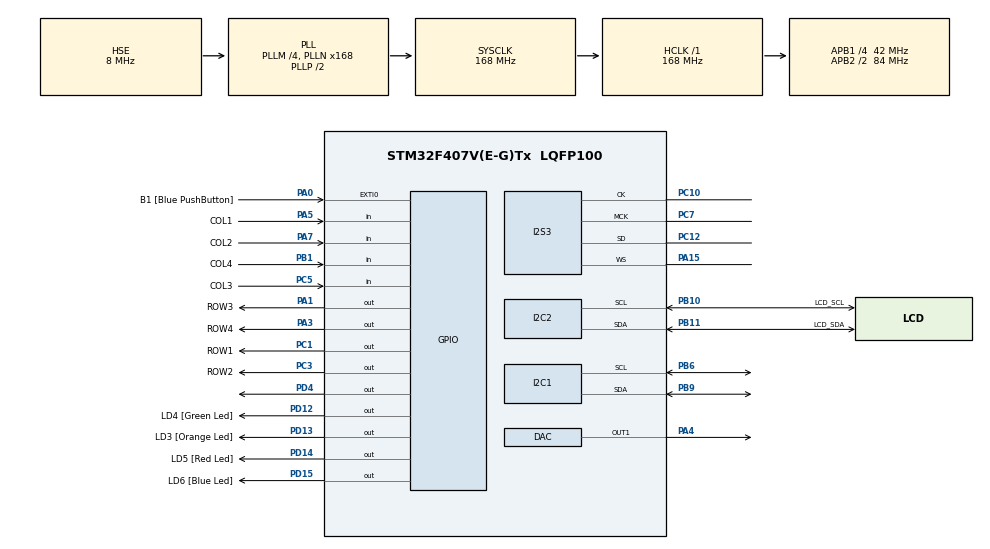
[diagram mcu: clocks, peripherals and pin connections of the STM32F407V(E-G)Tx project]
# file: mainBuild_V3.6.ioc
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Dma.Request0=SPI3_TX
Dma.SPI3_TX.0.Direction=DMA_MEMORY_TO_PERIPH
Dma.SPI3_TX.0.FIFOMode=DMA_FIFOMODE_ENABLE
Dma.SPI3_TX.0.FIFOThreshold=DMA_FIFO_THRESHOLD_FULL
Dma.SPI3_TX.0.Instance=DMA1_Stream5
Dma.SPI3_TX.0.MemBurst=DMA_MBURST_SINGLE
Dma.SPI3_TX.0.MemDataAlignment=DMA_MDATAALIGN_HALFWORD
Dma.SPI3_TX.0.MemInc=DMA_MINC_ENABLE
Dma.SPI3_TX.0.Mode=DMA_CIRCULAR
Dma.SPI3_TX.0.PeriphBurst=DMA_PBURST_SINGLE
Dma.SPI3_TX.0.PeriphDataAlignment=DMA_PDATAALIGN_HALFWORD
Dma.SPI3_TX.0.PeriphInc=DMA_PINC_DISABLE
Dma.SPI3_TX.0.Priority=DMA_PRIORITY_LOW
I2S3.AudioFreq=I2S_AUDIOFREQ_48K
I2S3.ErrorAudioFreq=1.72 %
I2S3.FullDuplexMode=I2S_FULLDUPLEXMODE_DISABLE
I2S3.Instance=SPI$Index
I2S3.RealAudioFreq=48.828 KHz
I2S3.VirtualMode=I2S_MODE_MASTER
Mcu.Family=STM32F4
Mcu.Name=STM32F407V(E-G)Tx
Mcu.Package=LQFP100
NVIC.DMA1_Stream5_IRQn=true\:0\:0\:false\:false\:true\:false\:true
NVIC.PriorityGroup=NVIC_PRIORITYGROUP_0
NVIC.TIM3_IRQn=true\:0\:0\:false\:false\:true\:true\:true
PA0-WKUP.GPIO_Label=B1 [Blue PushButton]
PA0-WKUP.GPIO_PuPd=GPIO_NOPULL
PA0-WKUP.Signal=GPXTI0
PA1.GPIO_Label=ROW3
PA1.GPIO_PuPd=GPIO_PULLUP
PA1.PinState=GPIO_PIN_SET
PA1.Signal=GPIO_Output
PA13.GPIO_Label=SWDIO
PA13.Mode=Serial_Wire
PA13.Signal=SYS_JTMS-SWDIO
PA14.GPIO_Label=SWCLK
PA14.Mode=Serial_Wire
PA14.Signal=SYS_JTCK-SWCLK
PA15.Mode=Half_Duplex_Master
PA15.Signal=I2S3_WS
PA3.GPIO_Label=ROW4
PA3.GPIO_PuPd=GPIO_PULLUP
PA3.PinState=GPIO_PIN_SET
PA3.Signal=GPIO_Output
PA4.Signal=COMP_DAC1_group
PA5.GPIO_Label=COL1
PA5.GPIO_PuPd=GPIO_PULLUP
PA5.Signal=GPIO_Input
PA7.GPIO_Label=COL2
PA7.GPIO_PuPd=GPIO_PULLUP
PA7.Signal=GPIO_Input
PB1.GPIO_Label=COL4
PB1.GPIO_PuPd=GPIO_PULLUP
PB1.Signal=GPIO_Input
PB10.GPIO_Label=LCD_SCL
PB10.Mode=I2C
PB10.Signal=I2C2_SCL
PB11.GPIO_Label=LCD_SDA
PB11.Mode=I2C
PB11.Signal=I2C2_SDA
PB6.Mode=I2C
PB6.Signal=I2C1_SCL
PB9.Mode=I2C
PB9.Signal=I2C1_SDA
PC1.GPIO_Label=ROW1
PC1.GPIO_PuPd=GPIO_PULLUP
PC1.PinState=GPIO_PIN_SET
PC1.Signal=GPIO_Output
PC10.Mode=Half_Duplex_Master
PC10.Signal=I2S3_CK
PC12.Mode=Half_Duplex_Master
PC12.Signal=I2S3_SD
PC14-OSC32_IN.GPIO_Label=PC14-OSC32_IN
PC14-OSC32_IN.Mode=LSE-External-Oscillator
PC14-OSC32_IN.Signal=RCC_OSC32_IN
PC15-OSC32_OUT.GPIO_Label=PC15-OSC32_OUT
PC15-OSC32_OUT.Mode=LSE-External-Oscillator
PC15-OSC32_OUT.Signal=RCC_OSC32_OUT
PC3.GPIO_Label=ROW2
PC3.GPIO_PuPd=GPIO_PULLUP
PC3.PinState=GPIO_PIN_SET
PC3.Signal=GPIO_Output
PC5.GPIO_Label=COL3
PC5.GPIO_PuPd=GPIO_PULLUP
PC5.Signal=GPIO_Input
PC7.Mode=Master_Clock_Activated
PC7.Signal=I2S3_MCK
PD12.GPIO_Label=LD4 [Green Led]
PD12.GPIO_PuPd=GPIO_NOPULL
PD12.GPIO_Speed=GPIO_SPEED_FREQ_LOW
PD12.Signal=GPIO_Output
PD13.GPIO_Label=LD3 [Orange Led]
PD13.GPIO_PuPd=GPIO_NOPULL
PD13.GPIO_Speed=GPIO_SPEED_FREQ_LOW
PD13.Signal=GPIO_Output
PD14.GPIO_Label=LD5 [Red Led]
PD14.GPIO_PuPd=GPIO_NOPULL
PD14.GPIO_Speed=GPIO_SPEED_FREQ_LOW
PD14.Signal=GPIO_Output
PD15.GPIO_Label=LD6 [Blue Led]
PD15.GPIO_PuPd=GPIO_NOPULL
PD15.GPIO_Speed=GPIO_SPEED_FREQ_LOW
PD15.Signal=GPIO_Output
PD4.Signal=GPIO_Output
PH0-OSC_IN.GPIO_Label=PH0-OSC_IN
PH0-OSC_IN.Mode=HSE-External-Oscillator
PH0-OSC_IN.Signal=RCC_OSC_IN
PH1-OSC_OUT.GPIO_Label=PH1-OSC_OUT
PH1-OSC_OUT.Mode=HSE-External-Oscillator
PH1-OSC_OUT.Signal=RCC_OSC_OUT
ProjectManager.HeapSize=0x200
ProjectManager.StackSize=0x400
ProjectManager.TargetToolchain=STM32CubeIDE
RCC.48MHZClocksFreq_Value=48000000
RCC.AHBFreq_Value=168000000
RCC.APB1CLKDivider=RCC_HCLK_DIV4
RCC.APB1Freq_Value=42000000
RCC.APB1TimFreq_Value=84000000
RCC.APB2CLKDivider=RCC_HCLK_DIV2
RCC.APB2Freq_Value=84000000
RCC.APB2TimFreq_Value=168000000
RCC.CortexFreq_Value=168000000
RCC.HCLKFreq_Value=168000000
RCC.HSE_VALUE=8000000
RCC.HSI_VALUE=16000000
RCC.PLLI2SN=50
RCC.PLLM=4
RCC.PLLN=168
RCC.PLLQ=7
RCC.PLLSourceVirtual=RCC_PLLSOURCE_HSE
RCC.SYSCLKFreq_VALUE=168000000
RCC.SYSCLKSource=RCC_SYSCLKSOURCE_PLLCLK
RCC.VCOOutputFreq_Value=336000000
SH.COMP_DAC1_group.0=DAC_OUT1,DAC_OUT1
TIM3.Period=20-1
TIM3.Prescaler=84-1
TIM3.TIM_MasterOutputTrigger=TIM_TRGO_UPDATE
VP_TIM3_VS_ClockSourceINT.Mode=Internal
board=STM32F407G-DISC1

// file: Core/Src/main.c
/* USER CODE BEGIN Header */
/**
  ******************************************************************************
  * @file           : main.c
  * @brief          : Main program body
  ******************************************************************************
  * @attention
  *
  * Copyright (c) 2022 STMicroelectronics.
  * All rights reserved.
  *
  * This software is licensed under terms that can be found in the LICENSE file
  * in the root directory of this software component.
  * If no LICENSE file comes with this software, it is provided AS-IS.
  *
  ******************************************************************************
  */
/* USER CODE END Header */
#include "main.h"

/* USER CODE BEGIN Includes */
#include "lcd_development.h"
#include "stdbool.h"
#include "string.h"
#include "MY_CS43L22.h"
#include <math.h>

/* USER CODE END Includes */

/* USER CODE BEGIN PD */
#define DESFASE_ASCI 48

/* USER CODE END PD */

DAC_HandleTypeDef hdac;

I2C_HandleTypeDef hi2c1;
I2C_HandleTypeDef hi2c2;

I2S_HandleTypeDef hi2s3;
DMA_HandleTypeDef hdma_spi3_tx;

TIM_HandleTypeDef htim3;

/* USER CODE BEGIN PV */
#define PI 3.14159264f
#define F_SAMPLE 50000.0f
#define F_OUT 440.0f
/* USER CODE END PV */

void SystemClock_Config(void);
static void MX_GPIO_Init(void);
static void MX_I2C2_Init(void);
static void MX_DMA_Init(void);
static void MX_I2C1_Init(void);
static void MX_I2S3_Init(void);
static void MX_DAC_Init(void);
static void MX_TIM3_Init(void);

/* USER CODE BEGIN 0 */
float mySinVal;
double sample_dt;
uint16_t sample_N;
uint16_t i_t;
uint32_t myDACVal;
int16_t dataI2S[4];
/* USER CODE END 0 */

int main(void)
{
  /* USER CODE BEGIN 1 */
	sample_dt = (double) F_OUT/F_SAMPLE;
	sample_N = F_SAMPLE/F_OUT;
  /* USER CODE END 1 */

  /* MCU Configuration--------------------------------------------------------*/

  /* Reset of all peripherals, Initializes the Flash interface and the Systick. */
  HAL_Init();

  /* USER CODE BEGIN Init */
  lcd_init();
  initKeyPad();
  /* USER CODE END Init */

  /* Configure the system clock */
  SystemClock_Config();

  /* Initialize all configured peripherals */
  MX_GPIO_Init();
  MX_I2C2_Init();
  MX_DMA_Init();
  MX_I2C1_Init();
  MX_I2S3_Init();
  MX_DAC_Init();
  MX_TIM3_Init();
  /* USER CODE BEGIN 2 */

  CS43_Init(hi2c1,MODE_ANALOG_CS43);
  CS43_SetVolume(50);
  CS43_Enable_RightLeft(CS43_RIGHT_LEFT);
  CS43_Start();

  HAL_I2S_Transmit_DMA(&hi2s3,(uint16_t *) dataI2S,4);
  // Iniciamos el DAC

  HAL_DAC_Start(&hdac,DAC_CHANNEL_1);

  // Iniciamos el timer

  HAL_TIM_Base_Start_IT(&htim3);

  //double * buffer_Out =  getSinSignal(8000, 200, 1);

  /* USER CODE END 2 */

  /* Infinite loop */
  while (1)
  {

    /* USER CODE BEGIN 3 */
	char mensaje[15] = "FUNCIONA LCD";

	lcd_send_string (mensaje,true);
	HAL_Delay(1000);
	char a = readKeyPad();
	if (a!=111){
		char mensaje[27] = "Ha selecionado la tecla: ";
		strncat(mensaje, &a, 1);
		lcd_send_string (mensaje,true);
	}
  }
  /* USER CODE END 3 */
}

void SystemClock_Config(void)
{
  RCC_OscInitTypeDef RCC_OscInitStruct = {0};
  RCC_ClkInitTypeDef RCC_ClkInitStruct = {0};

  /** Configure the main internal regulator output voltage
  */
  __HAL_RCC_PWR_CLK_ENABLE();
  __HAL_PWR_VOLTAGESCALING_CONFIG(PWR_REGULATOR_VOLTAGE_SCALE1);
  /** Initializes the RCC Oscillators according to the specified parameters
  * in the RCC_OscInitTypeDef structure.
  */
  RCC_OscInitStruct.OscillatorType = RCC_OSCILLATORTYPE_HSE;
  RCC_OscInitStruct.HSEState = RCC_HSE_ON;
  RCC_OscInitStruct.PLL.PLLState = RCC_PLL_ON;
  RCC_OscInitStruct.PLL.PLLSource = RCC_PLLSOURCE_HSE;
  RCC_OscInitStruct.PLL.PLLM = 4;
  RCC_OscInitStruct.PLL.PLLN = 168;
  RCC_OscInitStruct.PLL.PLLP = RCC_PLLP_DIV2;
  RCC_OscInitStruct.PLL.PLLQ = 7;
  if (HAL_RCC_OscConfig(&RCC_OscInitStruct) != HAL_OK)
  {
    Error_Handler();
  }
  /** Initializes the CPU, AHB and APB buses clocks
  */
  RCC_ClkInitStruct.ClockType = RCC_CLOCKTYPE_HCLK|RCC_CLOCKTYPE_SYSCLK
                              |RCC_CLOCKTYPE_PCLK1|RCC_CLOCKTYPE_PCLK2;
  RCC_ClkInitStruct.SYSCLKSource = RCC_SYSCLKSOURCE_PLLCLK;
  RCC_ClkInitStruct.AHBCLKDivider = RCC_SYSCLK_DIV1;
  RCC_ClkInitStruct.APB1CLKDivider = RCC_HCLK_DIV4;
  RCC_ClkInitStruct.APB2CLKDivider = RCC_HCLK_DIV2;

  if (HAL_RCC_ClockConfig(&RCC_ClkInitStruct, FLASH_LATENCY_5) != HAL_OK)
  {
    Error_Handler();
  }
}

static void MX_DAC_Init(void)
{

  DAC_ChannelConfTypeDef sConfig = {0};

  /** DAC Initialization
  */
  hdac.Instance = DAC;
  if (HAL_DAC_Init(&hdac) != HAL_OK)
  {
    Error_Handler();
  }
  /** DAC channel OUT1 config
  */
  sConfig.DAC_Trigger = DAC_TRIGGER_NONE;
  sConfig.DAC_OutputBuffer = DAC_OUTPUTBUFFER_ENABLE;
  if (HAL_DAC_ConfigChannel(&hdac, &sConfig, DAC_CHANNEL_1) != HAL_OK)
  {
    Error_Handler();
  }

}

static void MX_I2C1_Init(void)
{

  hi2c1.Instance = I2C1;
  hi2c1.Init.ClockSpeed = 100000;
  hi2c1.Init.DutyCycle = I2C_DUTYCYCLE_2;
  hi2c1.Init.OwnAddress1 = 0;
  hi2c1.Init.AddressingMode = I2C_ADDRESSINGMODE_7BIT;
  hi2c1.Init.DualAddressMode = I2C_DUALADDRESS_DISABLE;
  hi2c1.Init.OwnAddress2 = 0;
  hi2c1.Init.GeneralCallMode = I2C_GENERALCALL_DISABLE;
  hi2c1.Init.NoStretchMode = I2C_NOSTRETCH_DISABLE;
  if (HAL_I2C_Init(&hi2c1) != HAL_OK)
  {
    Error_Handler();
  }

}

static void MX_I2C2_Init(void)
{

  hi2c2.Instance = I2C2;
  hi2c2.Init.ClockSpeed = 100000;
  hi2c2.Init.DutyCycle = I2C_DUTYCYCLE_2;
  hi2c2.Init.OwnAddress1 = 0;
  hi2c2.Init.AddressingMode = I2C_ADDRESSINGMODE_7BIT;
  hi2c2.Init.DualAddressMode = I2C_DUALADDRESS_DISABLE;
  hi2c2.Init.OwnAddress2 = 0;
  hi2c2.Init.GeneralCallMode = I2C_GENERALCALL_DISABLE;
  hi2c2.Init.NoStretchMode = I2C_NOSTRETCH_DISABLE;
  if (HAL_I2C_Init(&hi2c2) != HAL_OK)
  {
    Error_Handler();
  }

}

static void MX_I2S3_Init(void)
{

  hi2s3.Instance = SPI3;
  hi2s3.Init.Mode = I2S_MODE_MASTER_TX;
  hi2s3.Init.Standard = I2S_STANDARD_PHILIPS;
  hi2s3.Init.DataFormat = I2S_DATAFORMAT_16B;
  hi2s3.Init.MCLKOutput = I2S_MCLKOUTPUT_ENABLE;
  hi2s3.Init.AudioFreq = I2S_AUDIOFREQ_48K;
  hi2s3.Init.CPOL = I2S_CPOL_LOW;
  hi2s3.Init.ClockSource = I2S_CLOCK_PLL;
  hi2s3.Init.FullDuplexMode = I2S_FULLDUPLEXMODE_DISABLE;
  if (HAL_I2S_Init(&hi2s3) != HAL_OK)
  {
    Error_Handler();
  }

}

static void MX_TIM3_Init(void)
{

  TIM_ClockConfigTypeDef sClockSourceConfig = {0};
  TIM_MasterConfigTypeDef sMasterConfig = {0};

  htim3.Instance = TIM3;
  htim3.Init.Prescaler = 84-1;
  htim3.Init.CounterMode = TIM_COUNTERMODE_UP;
  htim3.Init.Period = 20-1;
  htim3.Init.ClockDivision = TIM_CLOCKDIVISION_DIV1;
  htim3.Init.AutoReloadPreload = TIM_AUTORELOAD_PRELOAD_DISABLE;
  if (HAL_TIM_Base_Init(&htim3) != HAL_OK)
  {
    Error_Handler();
  }
  sClockSourceConfig.ClockSource = TIM_CLOCKSOURCE_INTERNAL;
  if (HAL_TIM_ConfigClockSource(&htim3, &sClockSourceConfig) != HAL_OK)
  {
    Error_Handler();
  }
  sMasterConfig.MasterOutputTrigger = TIM_TRGO_UPDATE;
  sMasterConfig.MasterSlaveMode = TIM_MASTERSLAVEMODE_DISABLE;
  if (HAL_TIMEx_MasterConfigSynchronization(&htim3, &sMasterConfig) != HAL_OK)
  {
    Error_Handler();
  }

}

static void MX_DMA_Init(void)
{

  /* DMA controller clock enable */
  __HAL_RCC_DMA1_CLK_ENABLE();

  /* DMA interrupt init */
  /* DMA1_Stream5_IRQn interrupt configuration */
  HAL_NVIC_SetPriority(DMA1_Stream5_IRQn, 0, 0);
  HAL_NVIC_EnableIRQ(DMA1_Stream5_IRQn);

}

static void MX_GPIO_Init(void)
{
  GPIO_InitTypeDef GPIO_InitStruct = {0};

  /* GPIO Ports Clock Enable */
  __HAL_RCC_GPIOC_CLK_ENABLE();
  __HAL_RCC_GPIOH_CLK_ENABLE();
  __HAL_RCC_GPIOA_CLK_ENABLE();
  __HAL_RCC_GPIOB_CLK_ENABLE();
  __HAL_RCC_GPIOD_CLK_ENABLE();

  /*Configure GPIO pin Output Level */
  HAL_GPIO_WritePin(GPIOC, ROW1_Pin|ROW2_Pin, GPIO_PIN_SET);

  /*Configure GPIO pin Output Level */
  HAL_GPIO_WritePin(GPIOA, ROW3_Pin|ROW4_Pin, GPIO_PIN_SET);

  /*Configure GPIO pin Output Level */
  HAL_GPIO_WritePin(GPIOD, LD4_Pin|LD3_Pin|LD5_Pin|LD6_Pin
                          |GPIO_PIN_4, GPIO_PIN_RESET);

  /*Configure GPIO pins : ROW1_Pin ROW2_Pin */
  GPIO_InitStruct.Pin = ROW1_Pin|ROW2_Pin;
  GPIO_InitStruct.Mode = GPIO_MODE_OUTPUT_PP;
  GPIO_InitStruct.Pull = GPIO_PULLUP;
  GPIO_InitStruct.Speed = GPIO_SPEED_FREQ_LOW;
  HAL_GPIO_Init(GPIOC, &GPIO_InitStruct);

  /*Configure GPIO pin : B1_Pin */
  GPIO_InitStruct.Pin = B1_Pin;
  GPIO_InitStruct.Mode = GPIO_MODE_IT_RISING;
  GPIO_InitStruct.Pull = GPIO_NOPULL;
  HAL_GPIO_Init(B1_GPIO_Port, &GPIO_InitStruct);

  /*Configure GPIO pins : ROW3_Pin ROW4_Pin */
  GPIO_InitStruct.Pin = ROW3_Pin|ROW4_Pin;
  GPIO_InitStruct.Mode = GPIO_MODE_OUTPUT_PP;
  GPIO_InitStruct.Pull = GPIO_PULLUP;
  GPIO_InitStruct.Speed = GPIO_SPEED_FREQ_LOW;
  HAL_GPIO_Init(GPIOA, &GPIO_InitStruct);

  /*Configure GPIO pins : COL1_Pin COL2_Pin */
  GPIO_InitStruct.Pin = COL1_Pin|COL2_Pin;
  GPIO_InitStruct.Mode = GPIO_MODE_INPUT;
  GPIO_InitStruct.Pull = GPIO_PULLUP;
  HAL_GPIO_Init(GPIOA, &GPIO_InitStruct);

  /*Configure GPIO pin : COL3_Pin */
  GPIO_InitStruct.Pin = COL3_Pin;
  GPIO_InitStruct.Mode = GPIO_MODE_INPUT;
  GPIO_InitStruct.Pull = GPIO_PULLUP;
  HAL_GPIO_Init(COL3_GPIO_Port, &GPIO_InitStruct);

  /*Configure GPIO pin : COL4_Pin */
  GPIO_InitStruct.Pin = COL4_Pin;
  GPIO_InitStruct.Mode = GPIO_MODE_INPUT;
  GPIO_InitStruct.Pull = GPIO_PULLUP;
  HAL_GPIO_Init(COL4_GPIO_Port, &GPIO_InitStruct);

  /*Configure GPIO pins : LD4_Pin LD3_Pin LD5_Pin LD6_Pin
                           PD4 */
  GPIO_InitStruct.Pin = LD4_Pin|LD3_Pin|LD5_Pin|LD6_Pin
                          |GPIO_PIN_4;
  GPIO_InitStruct.Mode = GPIO_MODE_OUTPUT_PP;
  GPIO_InitStruct.Pull = GPIO_NOPULL;
  GPIO_InitStruct.Speed = GPIO_SPEED_FREQ_LOW;
  HAL_GPIO_Init(GPIOD, &GPIO_InitStruct);

}

/* USER CODE BEGIN 4 */
void HAL_TIM_PeriodElapsedCallback(TIM_HandleTypeDef *htim)
{
  /* Prevent unused argument(s) compilation warning */
  UNUSED(htim);

  /* NOTE : This function should not be modified, when the callback is needed,
            the HAL_TIM_PeriodElapsedCallback could be implemented in the user file
   */
  if (htim->Instance == TIM3){
	  mySinVal = sinf(i_t*2*PI*sample_dt);
	  myDACVal = (mySinVal+1)*127;
	  HAL_DAC_SetValue(&hdac,DAC_CHANNEL_1,DAC_ALIGN_8B_R,myDACVal);
	  i_t++;
	  if (i_t>=sample_N)i_t=0;
  }
}
/* USER CODE END 4 */

void Error_Handler(void)
{
  __disable_irq();
  while (1)
  {
  }
}
